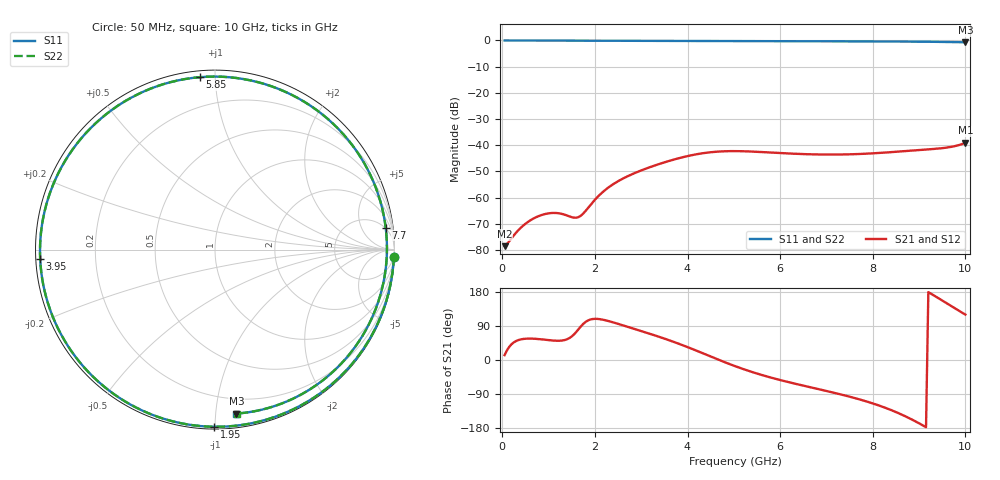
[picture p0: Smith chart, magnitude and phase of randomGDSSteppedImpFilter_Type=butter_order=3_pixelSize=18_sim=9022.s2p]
! freq	dB(S11)	phase(S11)	dB(S12)	phase(S12)
!  dB(S21)	phase(S21)	dB(S22)	phase(S22)
!S-par simulation data
#  GHz  S  DB  R 50
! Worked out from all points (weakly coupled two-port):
!   200 points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, 50 MHz to 10 GHz, reference 50 ohm
!   highest |S21| = -39.06 dB at 10 GHz (marker M1); lowest = -78.5 dB at 50 MHz (marker M2)
!   lowest |S11| = -0.7 dB at 10 GHz (marker M3), VSWR 24.42, Z = 4.69 - j56.7 ohm
!   |S11| at or under -10 dB: nowhere
!   |S22| runs from -0.7 to 0.0 dB; largest |S21 - S12| = 0
!   S11 on the Smith chart (normalised r, x): 50 MHz: 3, -50; 1.95 GHz: 0.01, -0.99; 3.95 GHz: 0.01, -0.03; 5.85 GHz: 0.03, +0.92; 7.7 GHz: 5, +14; 10 GHz: 0.09, -1.13
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0.05  -0.02 -2.3  -78.48 12.9  -78.48 12.9  -0.02 -2.3
0.4  -0.03 -19.0  -71.45 54.3  -71.45 54.3  -0.03 -19.0
0.75  -0.05 -35.6  -67.28 55.6  -67.28 55.6  -0.05 -35.6
1.15  -0.07 -54.2  -65.82 50.9  -65.82 50.9  -0.07 -54.2
1.6  -0.09 -74.7  -67.62 74.5  -67.62 74.5  -0.09 -74.7
1.75  -0.10 -81.4  -66.00 95.5  -66.00 95.5  -0.10 -81.4
1.95  -0.11 -90.3  -61.80 108.1  -61.80 108.1  -0.11 -90.3
2.5  -0.14 -114.4  -53.71 95.4  -53.71 95.4  -0.14 -114.4
2.95  -0.16 -133.8  -49.94 78.3  -49.94 78.3  -0.16 -133.8
3.4  -0.19 -153.2  -47.07 60.6  -47.07 60.6  -0.19 -153.2
3.95  -0.22 -177.1  -44.33 36.5  -44.33 36.5  -0.22 -177.1
4.5  -0.25 158.4  -42.65 9.3  -42.65 9.3  -0.25 158.5
5.05  -0.28 133.2  -42.23 -17.3  -42.23 -17.3  -0.28 133.2
5.45  -0.30 114.2  -42.44 -33.9  -42.44 -33.9  -0.30 114.3
5.85  -0.32 95.0  -42.82 -48.1  -42.82 -48.1  -0.31 95.0
6.25  -0.33 75.5  -43.18 -60.5  -43.18 -60.5  -0.33 75.6
6.7  -0.34 53.7  -43.46 -73.3  -43.46 -73.3  -0.34 53.8
7.2  -0.35 30.1  -43.54 -87.6  -43.54 -87.6  -0.35 30.2
7.7  -0.36 7.4  -43.33 -103.5  -43.33 -103.5  -0.36 7.5
8.35  -0.41 -20.3  -42.67 -129.9  -42.67 -129.9  -0.40 -20.1
9.2  -0.51 -53.3  -41.56 179.1  -41.56 179.1  -0.51 -53.2
10  -0.71 -82.6  -39.06 119.8  -39.06 119.8  -0.71 -82.4
